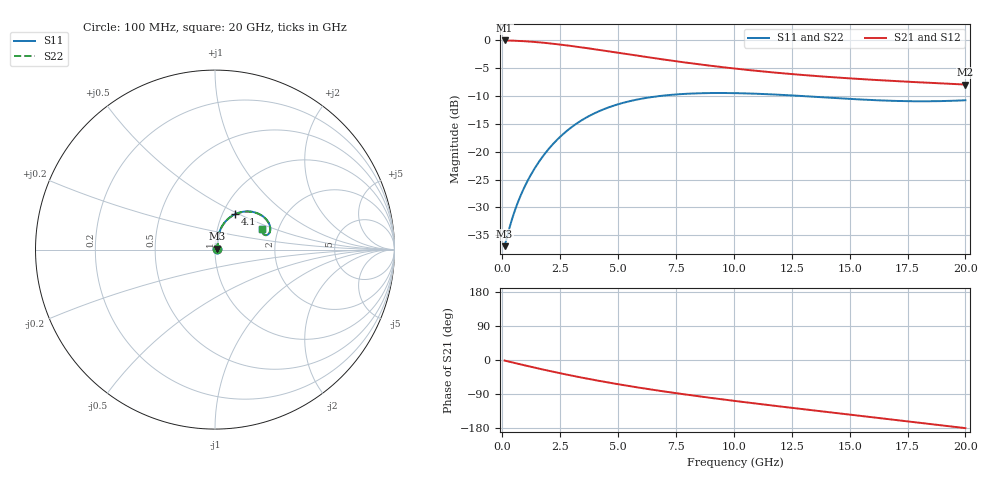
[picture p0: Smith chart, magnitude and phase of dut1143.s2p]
! Touchstone file exported from HFSS 2024.1.0
!  File:  C:/UserFiles/LocalFiles/RDL_TSV_Batchsim/temp_RDL_TSV_1143_1780114826.aedt
!  Generated:  12:37:22 PM May 30, 2026
!  Design:  RDL_TSV
!  Project:  temp_RDL_TSV_1143_1780114826
!  Setup:  Setup1
!  Solution:  Sweep
! Variables:
!  dtsv = 5.86um
!  hbump = 3um
!  htsv = 77.17um
!  ldown = 664.95um
!  lrdl = 137.56um
!  p = 40
!  p1 = 49.17um
!  rhole = 10um
!  subl = 2545.09um
!  t = 450um
!  tdown = 4.12um
!  trdl = 4.66um
!  viad = 10um
!  wdown = 20.29um
!  wrdl = 14.11um
!  xbump = 18um
# GHz S MA R 50.000000
! Terminal data exported
! Port[1] = TM1_1_T1
! Port[2] = TM1_4_T1
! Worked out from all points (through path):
!   200 points, 100 MHz to 20 GHz, reference 50 ohm
!   highest |S21| = -0.12 dB at 100 MHz (marker M1); lowest = -8.0 dB at 20 GHz (marker M2)
!   group delay of S21, straight-line fit = 23.6 ps
!   lowest |S11| = -36.9 dB at 100 MHz (marker M3), VSWR 1.03, Z = 51.3 + j0.532 ohm
!   |S11| at or under -10 dB: start of sweep to 6.921 GHz; 12.7 GHz to end of sweep
!   |S22| runs from -36.9 to -9.5 dB; largest |S21 - S12| = 1.6e-14
!   S11 on the Smith chart (normalised r, x): 100 MHz: 1.03, +0.01; 4.1 GHz: 1.14, +0.47; 20 GHz: 1.65, +0.42
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0.1  0.01425 21.3  0.9866 -1.5  0.9866 -1.5  0.01425 21.3
! Gamma 0 0 0 0
! Port Impedance 50 0 50 0
0.4  0.02409 52.9  0.983 -5.9  0.983 -5.9  0.0241 52.9
0.7  0.0363 65.3  0.9776 -10.3  0.9776 -10.3  0.0363 65.3
1  0.05016 71.6  0.97 -14.6  0.97 -14.6  0.05016 71.5
1.4  0.07085 75.2  0.9567 -20.2  0.9567 -20.2  0.07083 75.1
1.9  0.0994 75.7  0.9358 -27.1  0.9358 -27.1  0.09934 75.7
2.4  0.1296 73.8  0.9114 -33.6  0.9114 -33.6  0.1295 73.7
2.9  0.1599 70.5  0.8848 -40.0  0.8848 -40.0  0.1597 70.4
3.5  0.1946 65.7  0.851 -47.3  0.851 -47.3  0.1943 65.6
4.1  0.226 60.5  0.8167 -54.2  0.8167 -54.2  0.2256 60.5
4.7  0.2531 55.4  0.7826 -60.7  0.7826 -60.7  0.2527 55.3
5.3  0.2758 50.5  0.7495 -67.0  0.7495 -67.0  0.2754 50.4
6  0.2968 45.1  0.7128 -73.9  0.7128 -73.9  0.2963 45.0
6.8  0.3142 39.5  0.674 -81.3  0.674 -81.3  0.3136 39.5
8.4  0.3318 30.4  0.6073 -95.1  0.6073 -95.1  0.3312 30.3
10.1  0.3331 23.2  0.5513 -108.5  0.5513 -108.5  0.3324 23.1
11.7  0.3244 18.7  0.5105 -120.4  0.5105 -120.4  0.3236 18.6
13.4  0.3101 16.2  0.4768 -132.7  0.4768 -132.7  0.3092 16.1
15  0.2961 15.8  0.4518 -144.1  0.4518 -144.1  0.2952 15.8
16.7  0.2851 17.5  0.4304 -156.2  0.4304 -156.2  0.2842 17.4
18.3  0.2818 20.3  0.4136 -167.6  0.4136 -167.6  0.2809 20.3
20  0.2878 23.7  0.398 -179.8  0.398 -179.8  0.2869 23.7
